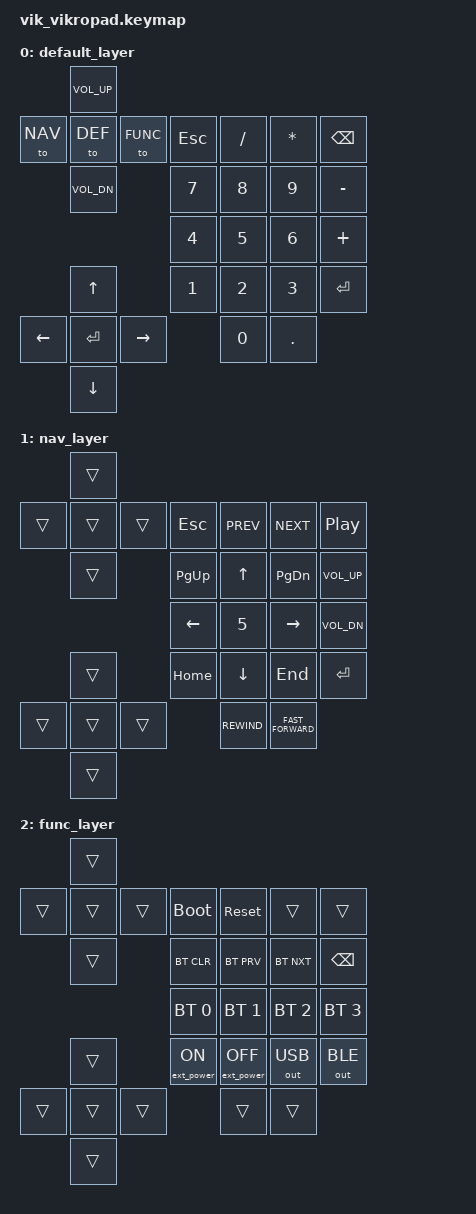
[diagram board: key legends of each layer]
/*
 * Copyright (c) 2020 The ZMK Contributors
 *
 * SPDX-License-Identifier: MIT
 */

 #include <behaviors.dtsi>
 #include <dt-bindings/zmk/keys.h>
 #include <dt-bindings/zmk/bt.h>
 #include <dt-bindings/zmk/ext_power.h>
 #include <dt-bindings/zmk/outputs.h>
 
 #define DEF     0
 #define NAV     1
 #define FUNC    2
 
 / {
 
     keymap {
         compatible = "zmk,keymap";

         default_layer {
            bindings = <
                      &kp K_VOL_UP
            &to NAV   &to DEF   &to FUNC        &kp ESC  &kp FSLH &kp ASTRK &kp BSPC
                      &kp K_VOL_DN              &kp N7   &kp N8   &kp N9    &kp MINUS
                                                &kp N4   &kp N5   &kp N6    &kp PLUS
                      &kp UP                    &kp N1   &kp N2   &kp N3    &kp RET
            &kp LEFT  &kp RET   &kp RIGHT            &kp N0           &kp DOT
                      &kp DOWN
            >;
         };
 
         nav_layer {
            bindings = <
                      &trans
            &trans    &trans   &trans           &kp ESC    &kp C_PREV &kp C_NEXT &kp C_PLAY_PAUSE
                      &trans                    &kp PG_UP  &kp UP     &kp PG_DN  &kp K_VOL_UP
                                                &kp LEFT   &kp N5     &kp RIGHT  &kp K_VOL_DN
                      &trans                    &kp HOME   &kp DOWN   &kp END    &kp RET
            &trans    &trans   &trans                &kp C_REWIND   &kp C_FAST_FORWARD
                      &trans
            >;
         };

         func_layer {
            bindings = <
                      &trans
            &trans    &trans   &trans       &bootloader        &sys_reset         &trans           &trans
                      &trans                &bt BT_CLR         &bt BT_PRV         &bt BT_NXT       &kp BSPC
                                            &bt BT_SEL 0       &bt BT_SEL 1       &bt BT_SEL 2     &bt BT_SEL 3
                      &trans                &ext_power EP_ON   &ext_power EP_OFF  &out OUT_USB     &out OUT_BLE
            &trans    &trans   &trans                     &trans                         &trans
                      &trans
            >;
         };
     };
 };
 

